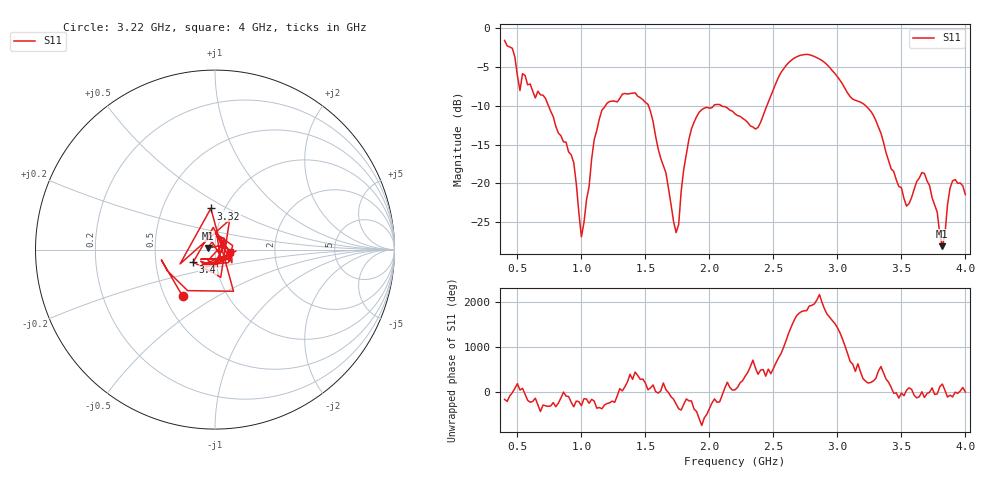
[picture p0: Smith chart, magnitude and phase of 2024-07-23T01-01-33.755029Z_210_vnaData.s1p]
!Created with skrf (http://scikit-rf.org).
# Hz S RI R 50.0
!freq ReS11 ImS11
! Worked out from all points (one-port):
!   181 points, 400 MHz to 4 GHz, reference 50 ohm
!   lowest |S11| = -28.0 dB at 3.82 GHz (marker M1), VSWR 1.08, Z = 46.3 + j0.785 ohm
!   |S11| at or under -10 dB: 742.2 MHz to 1.189 GHz (446.5 MHz wide, 46.2 % of centre); 1.523 GHz to 2.035 GHz (511.8 MHz wide, 28.8 % of centre); 3.219 GHz to end of sweep (the widest 3 of 4)
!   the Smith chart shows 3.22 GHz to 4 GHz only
!   S11 on the Smith chart (normalised r, x): 3.22 GHz: 0.62, -0.35; 3.32 GHz: 0.86, +0.42; 3.4 GHz: 0.78, -0.11; 4 GHz: 1.18, -0.03
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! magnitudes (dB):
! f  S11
! 400 MHz  -1.7
! 460 MHz  -2.7
! 520 MHz  -8.1
! 540 MHz  -5.9
! 700 MHz  -8.7
! 860 MHz  -14.7
! 940 MHz  -17.3
! 1 GHz  -26.8
! 1.14 GHz  -11.7
! 1.3 GHz  -9.1
! 1.52 GHz  -9.8
! 1.74 GHz  -26.3
! 1.76 GHz  -25.3
! 1.8 GHz  -18.1
! 1.9 GHz  -11.4
! 2.2 GHz  -11.1
! 2.38 GHz  -12.8
! 2.66 GHz  -4.0
! 2.88 GHz  -4.2
! 3.1 GHz  -8.9
! 3.22 GHz  -10.0
! 3.32 GHz  -12.7
! 3.4 GHz  -17.1
! 3.56 GHz  -22.6
! 3.68 GHz  -18.7
! 3.82 GHz  -28.0
! 3.9 GHz  -19.7
! 4 GHz  -21.4
